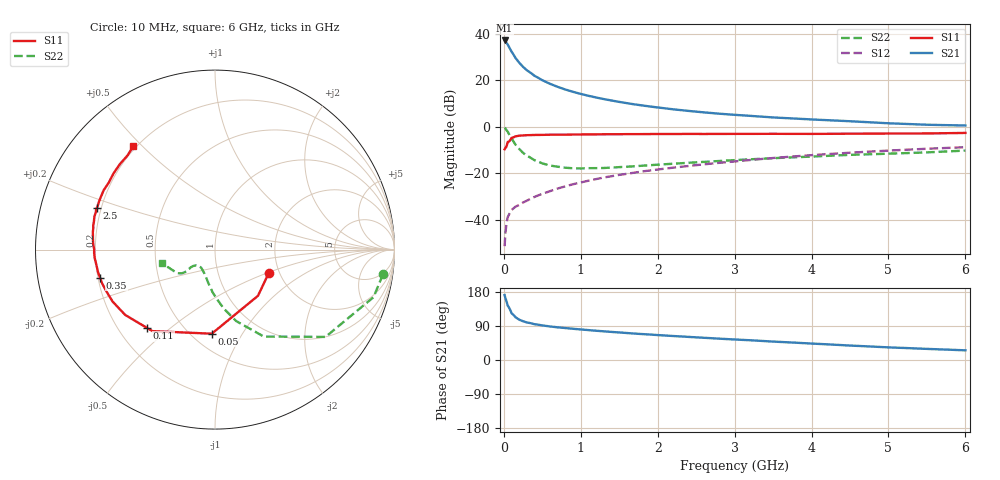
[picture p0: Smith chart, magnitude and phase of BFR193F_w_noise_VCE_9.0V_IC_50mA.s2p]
! (c) 2017  Infineon Technologies AG, Munich
! Infineon Technologies  Discrete & RF Semiconductors
! BFR193F
! VCE =  9.0 V,  IC =  50 mA
! Common Emitter S-Parameters:  Jan 2017
# GHz  S  MA  R  50
!  f  S11  S21  S12  S22
! GHz  MAG  ANG  MAG  ANG  MAG  ANG  MAG  ANG
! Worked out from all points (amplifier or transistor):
!   77 points, 10 MHz to 6 GHz, reference 50 ohm
!   highest |S21| = 37.1 dB at 10 MHz (marker M1)
!   |S21| within 3 dB of that: start of sweep to 70.93 MHz
!   unconditionally stable (mu >= 1): 940.3 MHz to 2.611 GHz
!   at 130 MHz: K = 0.45, MSG = 32.9 dB, |S12| = -35.0 dB
!   at 2.2 GHz: K = 1.02, MAG = 11.8 dB, |S12| = -17.6 dB
!   at 6 GHz: K = 0.85, MSG = 4.7 dB, |S12| = -8.8 dB
!   lowest NFmin = 1.48 dB at 450 MHz
!   S11 on the Smith chart (normalised r, x): 10 MHz: 1.76, -0.52; 50 MHz: 0.62, -0.75; 110 MHz: 0.32, -0.42; 350 MHz: 0.21, -0.11; 2.5 GHz: 0.18, +0.17; 6 GHz: 0.19, +0.47
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0.01  0.3267 -23.8  71.41 171.5  0.0027 82.1  0.9458 -8.4
0.02  0.3516 -47.1  68.72 163.4  0.0051 75.2  0.9222 -16.7
0.05  0.4688 -92.2  58.51 143.7  0.0113 65.0  0.7849 -38.3
0.1  0.5726 -127.5  41.22 123.4  0.0161 54.1  0.5557 -60.7
0.11  0.5778 -131.0  38.96 121.8  0.0167 53.4  0.5258 -62.7
0.15  0.6189 -144.0  30.35 113.0  0.019 50.9  0.4151 -73.5
0.2  0.6397 -153.1  23.71 106.5  0.0208 51.8  0.3316 -81.6
0.25  0.6487 -159.2  19.31 102.2  0.0235 54.3  0.2735 -88.1
0.3  0.6566 -163.4  16.3 99.1  0.0257 56.0  0.2384 -93.2
0.35  0.6594 -166.3  14.32 97.1  0.0283 58.2  0.2135 -96.8
0.4  0.6638 -169.1  12.38 94.4  0.031 60.1  0.1897 -101.3
0.5  0.6668 -173.0  9.974 91.3  0.036 64.1  0.1626 -107.8
0.6  0.6717 -175.8  8.355 88.5  0.0411 66.1  0.1462 -113.6
0.8  0.6732 179.8  6.291 84.3  0.0522 68.8  0.1312 -123.2
1.1  0.683 174.8  4.612 78.9  0.069 71.8  0.1283 -131.9
1.5  0.6886 170.0  3.414 72.7  0.0921 73.1  0.1351 -139.4
2.1  0.6961 163.7  2.476 64.6  0.1257 73.2  0.1562 -143.3
2.5  0.6981 160.4  2.107 59.8  0.1489 72.8  0.1713 -143.6
3.1  0.7004 155.3  1.754 53.1  0.1854 71.9  0.1949 -143.0
4.1  0.7009 146.7  1.406 42.4  0.2505 68.1  0.2316 -145.2
5.1  0.7128 137.0  1.167 32.5  0.312 62.8  0.2662 -155.4
6  0.7343 128.4  1.061 25.5  0.3622 57.6  0.3066 -166.0
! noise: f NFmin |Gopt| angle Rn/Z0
0.45  1.48  0.47  -179  0.07
0.9  1.56  0.48  -178  0.08
1.9  2.14  0.6  -163  0.09
2.4  2.45  0.62  -155  0.15
